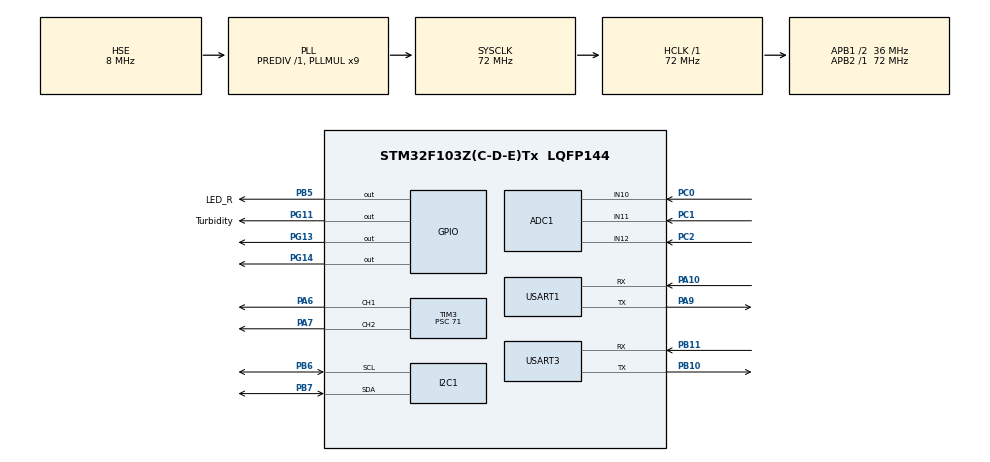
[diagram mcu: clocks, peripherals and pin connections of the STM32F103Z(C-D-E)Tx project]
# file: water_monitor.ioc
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ADC1.Channel-1\#ChannelRegularConversion=ADC_CHANNEL_10
ADC1.Channel-2\#ChannelRegularConversion=ADC_CHANNEL_11
ADC1.Channel-3\#ChannelRegularConversion=ADC_CHANNEL_12
ADC1.ContinuousConvMode=ENABLE
ADC1.NbrOfConversion=3
ADC1.NbrOfConversionFlag=1
ADC1.Rank-1\#ChannelRegularConversion=1
ADC1.Rank-2\#ChannelRegularConversion=2
ADC1.Rank-3\#ChannelRegularConversion=3
ADC1.SamplingTime-1\#ChannelRegularConversion=ADC_SAMPLETIME_13CYCLES_5
ADC1.SamplingTime-2\#ChannelRegularConversion=ADC_SAMPLETIME_13CYCLES_5
ADC1.SamplingTime-3\#ChannelRegularConversion=ADC_SAMPLETIME_13CYCLES_5
ADC1.master=1
Dma.ADC1.0.Direction=DMA_PERIPH_TO_MEMORY
Dma.ADC1.0.Instance=DMA1_Channel1
Dma.ADC1.0.MemDataAlignment=DMA_MDATAALIGN_HALFWORD
Dma.ADC1.0.MemInc=DMA_MINC_ENABLE
Dma.ADC1.0.Mode=DMA_CIRCULAR
Dma.ADC1.0.PeriphDataAlignment=DMA_PDATAALIGN_HALFWORD
Dma.ADC1.0.PeriphInc=DMA_PINC_DISABLE
Dma.ADC1.0.Priority=DMA_PRIORITY_LOW
Dma.Request0=ADC1
Dma.Request1=USART3_RX
Dma.USART3_RX.1.Direction=DMA_PERIPH_TO_MEMORY
Dma.USART3_RX.1.Instance=DMA1_Channel3
Dma.USART3_RX.1.MemDataAlignment=DMA_MDATAALIGN_BYTE
Dma.USART3_RX.1.MemInc=DMA_MINC_ENABLE
Dma.USART3_RX.1.Mode=DMA_NORMAL
Dma.USART3_RX.1.PeriphDataAlignment=DMA_PDATAALIGN_BYTE
Dma.USART3_RX.1.PeriphInc=DMA_PINC_DISABLE
Dma.USART3_RX.1.Priority=DMA_PRIORITY_LOW
FREERTOS.Tasks01=defaultTask,24,128,StartDefaultTask,Default,NULL,Dynamic,NULL,NULL
FREERTOS.configTOTAL_HEAP_SIZE=8192
FREERTOS.configUSE_MALLOC_FAILED_HOOK=1
Mcu.Family=STM32F1
Mcu.Name=STM32F103Z(C-D-E)Tx
Mcu.Package=LQFP144
NVIC.DMA1_Channel1_IRQn=true\:5\:0\:false\:false\:true\:true\:false\:true\:true
NVIC.DMA1_Channel3_IRQn=true\:5\:0\:false\:false\:true\:true\:false\:true\:true
NVIC.PriorityGroup=NVIC_PRIORITYGROUP_4
NVIC.TIM1_UP_IRQn=true\:15\:0\:false\:false\:true\:false\:false\:true\:true
NVIC.TimeBase=TIM1_UP_IRQn
NVIC.TimeBaseIP=TIM1
NVIC.USART1_IRQn=true\:5\:0\:false\:false\:true\:true\:true\:true\:true
NVIC.USART3_IRQn=true\:5\:0\:false\:false\:true\:true\:true\:true\:true
OSC_IN.Mode=HSE-External-Oscillator
OSC_IN.Signal=RCC_OSC_IN
OSC_OUT.Mode=HSE-External-Oscillator
OSC_OUT.Signal=RCC_OSC_OUT
PA10.Mode=Asynchronous
PA10.Signal=USART1_RX
PA13.Mode=Serial_Wire
PA13.Signal=SYS_JTMS-SWDIO
PA14.Mode=Serial_Wire
PA14.Signal=SYS_JTCK-SWCLK
PA6.Signal=S_TIM3_CH1
PA7.Signal=S_TIM3_CH2
PA9.Mode=Asynchronous
PA9.Signal=USART1_TX
PB10.Mode=Asynchronous
PB10.Signal=USART3_TX
PB11.Mode=Asynchronous
PB11.Signal=USART3_RX
PB5.GPIO_Label=LED_R
PB5.Signal=GPIO_Output
PB6.Mode=I2C
PB6.Signal=I2C1_SCL
PB7.Mode=I2C
PB7.Signal=I2C1_SDA
PC0.Signal=ADCx_IN10
PC1.Signal=ADCx_IN11
PC2.Signal=ADCx_IN12
PG11.GPIO_Label=Turbidity
PG11.GPIO_ModeDefaultOutputPP=GPIO_MODE_OUTPUT_PP
PG11.GPIO_PuPd=GPIO_PULLUP
PG11.GPIO_Speed=GPIO_SPEED_FREQ_HIGH
PG11.PinState=GPIO_PIN_SET
PG11.Signal=GPIO_Output
PG13.GPIO_PuPd=GPIO_PULLUP
PG13.PinState=GPIO_PIN_SET
PG13.Signal=GPIO_Output
PG14.GPIO_PuPd=GPIO_PULLUP
PG14.PinState=GPIO_PIN_SET
PG14.Signal=GPIO_Output
ProjectManager.HeapSize=0x200
ProjectManager.StackSize=0x800
ProjectManager.TargetToolchain=Makefile
RCC.ADCPresc=RCC_ADCPCLK2_DIV6
RCC.AHBFreq_Value=72000000
RCC.APB1CLKDivider=RCC_HCLK_DIV2
RCC.APB1Freq_Value=36000000
RCC.APB1TimFreq_Value=72000000
RCC.APB2Freq_Value=72000000
RCC.APB2TimFreq_Value=72000000
RCC.HCLKFreq_Value=72000000
RCC.PLLMUL=RCC_PLL_MUL9
RCC.PLLSourceVirtual=RCC_PLLSOURCE_HSE
RCC.SYSCLKFreq_VALUE=72000000
RCC.SYSCLKSource=RCC_SYSCLKSOURCE_PLLCLK
RCC.USBFreq_Value=72000000
SH.ADCx_IN10.0=ADC1_IN10,IN10
SH.ADCx_IN11.0=ADC1_IN11,IN11
SH.ADCx_IN12.0=ADC1_IN12,IN12
SH.S_TIM3_CH1.0=TIM3_CH1,PWM Generation1 CH1
SH.S_TIM3_CH2.0=TIM3_CH2,PWM Generation2 CH2
TIM3.Channel-PWM\ Generation1\ CH1=TIM_CHANNEL_1
TIM3.Channel-PWM\ Generation2\ CH2=TIM_CHANNEL_2
TIM3.Period=19999
TIM3.Prescaler=71
USART1.VirtualMode=VM_ASYNC
USART3.VirtualMode=VM_ASYNC
VP_FREERTOS_VS_CMSIS_V2.Mode=CMSIS_V2
VP_SYS_VS_tim1.Mode=TIM1
VP_TIM3_VS_ClockSourceINT.Mode=Internal
board=custom

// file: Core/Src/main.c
/* USER CODE BEGIN Header */
/**
  ******************************************************************************
  * @file           : main.c
  * @brief          : Main program body
  ******************************************************************************
  * @attention
  *
  * Copyright (c) 2025 STMicroelectronics.
  * All rights reserved.
  *
  * This software is licensed under terms that can be found in the LICENSE file
  * in the root directory of this software component.
  * If no LICENSE file comes with this software, it is provided AS-IS.
  *
  ******************************************************************************
  */
/* USER CODE END Header */
#include "main.h"
#include "cmsis_os.h"
#include "adc.h"
#include "dma.h"
#include "i2c.h"
#include "tim.h"
#include "usart.h"
#include "gpio.h"

/* USER CODE BEGIN Includes */
/* 告诉编译器，这个数组在别处定义了，你尽管用 */
extern uint16_t adc_raw_data[3];
/* USER CODE END Includes */

void SystemClock_Config(void);
void MX_FREERTOS_Init(void);

int main(void)
{

  /* MCU Configuration--------------------------------------------------------*/

  /* Reset of all peripherals, Initializes the Flash interface and the Systick. */
  HAL_Init();

  /* USER CODE BEGIN Init */
  CoreDebug->DEMCR |= CoreDebug_DEMCR_TRCENA_Msk; // 开启调试组件
  DWT->CYCCNT = 0;                                // 清零计数器
  DWT->CTRL |= DWT_CTRL_CYCCNTENA_Msk;            // 开启计数
  /* USER CODE END Init */

  /* Configure the system clock */
  SystemClock_Config();

  /* Initialize all configured peripherals */
  MX_GPIO_Init();
  MX_DMA_Init();
  MX_ADC1_Init();
  MX_USART1_UART_Init();
  MX_USART3_UART_Init();
  MX_I2C1_Init();
  MX_TIM3_Init();
  /* USER CODE BEGIN 2 */
	/* 开启 ADC DMA 搬运，长度为 3，对应你的三个通道 */
	HAL_ADC_Start_DMA(&hadc1, (uint32_t *)adc_raw_data, 3);
  /* USER CODE END 2 */

  /* Init scheduler */
  osKernelInitialize();  /* Call init function for freertos objects (in cmsis_os2.c) */
  MX_FREERTOS_Init();

  /* Start scheduler */
  osKernelStart();

  /* We should never get here as control is now taken by the scheduler */

  /* Infinite loop */
  while (1)
  {
	HAL_GPIO_TogglePin(GPIOB, GPIO_PIN_5);
	HAL_Delay(500);
  }
}

void SystemClock_Config(void)
{
  RCC_OscInitTypeDef RCC_OscInitStruct = {0};
  RCC_ClkInitTypeDef RCC_ClkInitStruct = {0};
  RCC_PeriphCLKInitTypeDef PeriphClkInit = {0};

  /** Initializes the RCC Oscillators according to the specified parameters
  * in the RCC_OscInitTypeDef structure.
  */
  RCC_OscInitStruct.OscillatorType = RCC_OSCILLATORTYPE_HSE;
  RCC_OscInitStruct.HSEState = RCC_HSE_ON;
  RCC_OscInitStruct.HSEPredivValue = RCC_HSE_PREDIV_DIV1;
  RCC_OscInitStruct.HSIState = RCC_HSI_ON;
  RCC_OscInitStruct.PLL.PLLState = RCC_PLL_ON;
  RCC_OscInitStruct.PLL.PLLSource = RCC_PLLSOURCE_HSE;
  RCC_OscInitStruct.PLL.PLLMUL = RCC_PLL_MUL9;
  if (HAL_RCC_OscConfig(&RCC_OscInitStruct) != HAL_OK)
  {
    Error_Handler();
  }

  /** Initializes the CPU, AHB and APB buses clocks
  */
  RCC_ClkInitStruct.ClockType = RCC_CLOCKTYPE_HCLK|RCC_CLOCKTYPE_SYSCLK
                              |RCC_CLOCKTYPE_PCLK1|RCC_CLOCKTYPE_PCLK2;
  RCC_ClkInitStruct.SYSCLKSource = RCC_SYSCLKSOURCE_PLLCLK;
  RCC_ClkInitStruct.AHBCLKDivider = RCC_SYSCLK_DIV1;
  RCC_ClkInitStruct.APB1CLKDivider = RCC_HCLK_DIV2;
  RCC_ClkInitStruct.APB2CLKDivider = RCC_HCLK_DIV1;

  if (HAL_RCC_ClockConfig(&RCC_ClkInitStruct, FLASH_LATENCY_2) != HAL_OK)
  {
    Error_Handler();
  }
  PeriphClkInit.PeriphClockSelection = RCC_PERIPHCLK_ADC;
  PeriphClkInit.AdcClockSelection = RCC_ADCPCLK2_DIV6;
  if (HAL_RCCEx_PeriphCLKConfig(&PeriphClkInit) != HAL_OK)
  {
    Error_Handler();
  }
}

void HAL_TIM_PeriodElapsedCallback(TIM_HandleTypeDef *htim)
{
  if (htim->Instance == TIM1)
  {
    HAL_IncTick();
  }
}

void Error_Handler(void)
{
  __disable_irq();
  while (1)
  {
  }
}

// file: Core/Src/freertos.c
/* USER CODE BEGIN Header */
/**
  ******************************************************************************
  * File Name          : freertos.c
  * Description        : Code for freertos applications
  ******************************************************************************
  * @attention
  *
  * Copyright (c) 2025 STMicroelectronics.
  * All rights reserved.
  *
  * This software is licensed under terms that can be found in the LICENSE file
  * in the root directory of this software component.
  * If no LICENSE file comes with this software, it is provided AS-IS.
  *
  ******************************************************************************
  */
/* USER CODE END Header */

#include "FreeRTOS.h"
#include "task.h"
#include "main.h"
#include "cmsis_os.h"
#include "string.h"

/* USER CODE BEGIN Includes */
#include <stdio.h>
#include "oled.h"
#include "string.h"
#include "ds18b20.h"
#include "adc.h"
#include "dht11.h"
#include "motor.h"
#include "esp32_cam.h"
#include "usart.h"
#include "tim.h"
/* USER CODE END Includes */

/* USER CODE BEGIN PTD */
#define ESP_RX_BUF_SIZE 512
uint8_t esp_rx_buf[ESP_RX_BUF_SIZE]; // DMA直接存放数据的数组
uint8_t esp_process_buf[ESP_RX_BUF_SIZE]; // 拷贝出来处理的数组
uint16_t esp_rx_len = 0;
/* USER CODE END PTD */

/* USER CODE BEGIN Pv */
// 1. 存放 ADC DMA 搬运来的原始数据 (对应 IN10, IN11, IN12)
uint16_t adc_raw_data[3] = {0}; // [0]:MQ135, [1]:假设的传感器2, [2]:假设的传感器3

float mq135_voltage = 0;        // MQ135 转换后的电压值
uint16_t air_quality = 0;       // 模拟空气质量数值

float Light_voltage = 0;
uint16_t light_intensity = 0;

// 2. 存放处理后的物理量 (给 GUI 显示用)
uint8_t temperature, humidity;

HAL_StatusTypeDef res_vision;
/* USER CODE END Pv */

/* Definitions for defaultTask */
osThreadId_t defaultTaskHandle;
const osThreadAttr_t defaultTask_attributes = {
  .name = "defaultTask",
  .stack_size = 128 * 4,
  .priority = (osPriority_t) osPriorityNormal,
};

/* --- esp8266任务属性 (给 2KB 栈空间) --- */
const osThreadAttr_t heaterTask_attributes = {
  .name = "communication",
  .stack_size = 512 * 4, // 改成 512 Words (2048 Bytes)
  .priority = (osPriority_t) osPriorityNormal,
};
/* USER CODE BEGIN FunctionPrototypes */
osThreadId_t oledTaskHandle;
void StartGUITask(void *argument);
osThreadId_t dht11TaskHandle;
void StartDHT11Task(void *argument);
osThreadId_t motorTaskHandle;
void StartMotorTask(void *argument);
/* USER CODE END FunctionPrototypes */
osThreadId_t mq135TaskHandle;
void StartMQ135Task(void *argument);
osThreadId_t communicationTaskHandle;
void StartCommunicationTask(void *argument);
void StartDefaultTask(void *argument);
osThreadId_t LightTaskHandle;
void StartLightTask(void *argument);
void Servo_SetAngle(float angle);
void MX_FREERTOS_Init(void); /* (MISRA C 2004 rule 8.1) */

/* Hook prototypes */
void vApplicationMallocFailedHook(void);

/* USER CODE BEGIN 5 */
void vApplicationMallocFailedHook(void)
{
   /* vApplicationMallocFailedHook() will only be called if
   configUSE_MALLOC_FAILED_HOOK is set to 1 in FreeRTOSConfig.h. It is a hook
   function that will get called if a call to pvPortMalloc() fails.
   pvPortMalloc() is called internally by the kernel whenever a task, queue,
   timer or semaphore is created. It is also called by various parts of the
   demo application. If heap_1.c or heap_2.c are used, then the size of the
   heap available to pvPortMalloc() is defined by configTOTAL_HEAP_SIZE in
   FreeRTOSConfig.h, and the xPortGetFreeHeapSize() API function can be used
   to query the size of free heap space that remains (although it does not
   provide information on how the remaining heap might be fragmented). */
}
/* USER CODE END 5 */

void MX_FREERTOS_Init(void) {

  /* Create the thread(s) */
  /* creation of defaultTask */
  defaultTaskHandle = osThreadNew(StartDefaultTask, NULL, &defaultTask_attributes);
  oledTaskHandle = osThreadNew(StartGUITask, NULL, &defaultTask_attributes);
  dht11TaskHandle = osThreadNew(StartDHT11Task, NULL, &defaultTask_attributes);
  motorTaskHandle = osThreadNew(StartMotorTask, NULL, &defaultTask_attributes);
  mq135TaskHandle = osThreadNew(StartMQ135Task, NULL, &defaultTask_attributes);
  communicationTaskHandle = osThreadNew(StartCommunicationTask, NULL, &heaterTask_attributes);
  LightTaskHandle = osThreadNew(StartLightTask, NULL, &defaultTask_attributes);

}

void StartDefaultTask(void *argument)
{
  /* USER CODE BEGIN StartDefaultTask */
  printf("System start success!\r\n");
  /* Infinite loop */
  for(;;)
  {
    // osDelay(1);
    HAL_GPIO_TogglePin(GPIOB, GPIO_PIN_5);
    osDelay(1000);
    // printf("System Alive! Tick: %lu\r\n", HAL_GetTick());

  }
  /* USER CODE END StartDefaultTask */
}

/* USER CODE BEGIN Application */
void StartGUITask(void *argument)
{
  OLED_Init();
  OLED_Clear();

  // 1. 标题：使用 16 点阵，占据 y=0 到 y=15 的位置
  OLED_ShowString(8, 0, (u8*)"Lab Monitor", 16);

  // 2. 静态标签：改用 12 点阵，节省空间
  OLED_ShowString(0, 20, (u8*)"Temp:", 12); // y=20
  OLED_ShowString(0, 32, (u8*)"Humi:", 12); // y=32
  OLED_ShowString(0, 44, (u8*)"Air:", 12); // y=32
  OLED_ShowString(0, 56, (u8*)"Light:", 12); // y=32

  // --- 这里 y=44 和 y=56 的位置现在空着，留给你后续的传感器 ---

  OLED_Refresh();

  char disp_buf[16];

  for(;;)
  {
    // --- 刷新温度值 (x轴 40 像素开始，避开标签) ---
    sprintf(disp_buf, "%d C   ", temperature);
    OLED_ShowString(40, 20, (u8*)disp_buf, 12);

    // --- 刷新湿度值 ---
    sprintf(disp_buf, "%d %%   ", humidity);
    OLED_ShowString(40, 32, (u8*)disp_buf, 12);

    // --- 刷新 MQ135 值 ---
    sprintf(disp_buf, "%d      ", air_quality); // 后面加空格是为了清除旧数字的残影
    OLED_ShowString(40, 44, (u8*)disp_buf, 12);

    sprintf(disp_buf, "%d      ", light_intensity); // 后面加空格是为了清除旧数字的残影
    OLED_ShowString(40, 56, (u8*)disp_buf, 12);

    // --- 系统运行指示点 (右上角) ---
    static uint8_t tick = 0;
    if(tick) OLED_ShowString(120, 0, (u8*)".", 16);
    else     OLED_ShowString(120, 0, (u8*)" ", 16);
    tick = !tick;

    OLED_Refresh();
    osDelay(500);
  }
}

void StartDHT11Task(void *argument)
{

  // 核心：在OS开始后先初始化引脚时钟
  __HAL_RCC_GPIOG_CLK_ENABLE();

  for(;;)
  {
    // 读取数据
    if(DHT11_Read_Data(&temperature, &humidity) == 0)
    {
      // printf("DHT11 OK! Humidity: %d%%, Temperature: %d C\r\n", humidity, temperature);
    }
    else
    {
      // printf("DHT11 Error! Check wiring on PG11\r\n");
    }

    osDelay(1000); // DHT11 必须 2 秒以上读一次
  }
}

void StartMotorTask(void *argument)
{
  /* USER CODE BEGIN StartMotorTask */
  Motor_Init_All(); // 初始化点击驱动模块

  for(;;)
  {
    // 逻辑判定：假设温度阈值为 27 度
    if(temperature >= 32)
    {
        // 1. 马达以 20% 速度正转（作为散热风扇）
        Motor_Set(20, 1);
        // 2. 关闭蜂鸣器 (PG13 高电平关闭)
        HAL_GPIO_WritePin(GPIOG, GPIO_PIN_13, GPIO_PIN_SET);
    } else if (temperature >= 30){
        // 2. 蜂鸣器报警 (PG13 低电平触发)
        HAL_GPIO_WritePin(GPIOG, GPIO_PIN_13, GPIO_PIN_RESET);
        Motor_Stop();
    } else {
        // 1. 停止马达
        Motor_Stop();
        // 2. 关闭蜂鸣器 (PG13 高电平关闭)
        HAL_GPIO_WritePin(GPIOG, GPIO_PIN_13, GPIO_PIN_SET);
    }

    osDelay(1000); // 1秒轮询一次
  }
  /* USER CODE END StartMotorTask */
}

// MQ135 ADC转换
void StartMQ135Task(void *argument)
{
  for(;;)
  {
    /* 根据你的配置：
       PC0 (IN10) -> adc_raw_data[0]
       PC1 (IN11) -> adc_raw_data[1]
       PC2 (IN12) -> adc_raw_data[2]
    */

    // 1. 将 12 位 ADC 值 (0-4095) 转换为电压 (0-3.3V)
    mq135_voltage = (float)adc_raw_data[0] * 3.3f / 4096.0f;

    // 2. 简单的换算（可选）：将 0-4095 映射到 0-100 的空气质量指数
    air_quality = (uint16_t)((float)adc_raw_data[0] / 4095.0f * 100.0f);

    // 打印调试
    // printf("MQ135 Raw: %d, Voltage: %.2fV\r\n", adc_raw_data[0], mq135_voltage);

    osDelay(500); // 半秒计算一次即可
  }
}

// light ADC转换
void StartLightTask(void *argument)
{
  for(;;)
  {
    /* 根据你的配置：
       PC0 (IN10) -> adc_raw_data[0]
       PC1 (IN11) -> adc_raw_data[1]
       PC2 (IN12) -> adc_raw_data[2]
    */

    // 1. 将 12 位 ADC 值 (0-4095) 转换为电压 (0-3.3V)
    Light_voltage = (float)adc_raw_data[1] * 3.3f / 4096.0f;

    // 2. 简单的换算（可选）：将 0-4095 映射到 0-100 的空气质量指数
	light_intensity = (uint16_t)((float)(4095 - adc_raw_data[1]) / 4095.0f * 100.0f);

    // 打印调试
    // printf("Light Raw: %d, Voltage: %.2fV\r\n", adc_raw_data[1], Light_voltage);

    osDelay(500); // 半秒计算一次即可
  }
}

/* 辅助发送函数 */
void ESP_Send_Cmd(char *cmd) {
    printf("Sending: %s\r\n", cmd); // 在USART1打印调试信息
    HAL_UART_Transmit(&huart3, (uint8_t*)cmd, strlen(cmd), 100);
    HAL_UART_Transmit(&huart3, (uint8_t*)"\r\n", 2, 10);
}

// 通信初始化函数（内部调用）
void ESP_Init_Connection(void) {
    printf("Starting ESP8266 Initialization...\r\n");

    osDelay(5000);
    // 1. 测试指令
    ESP_Send_Cmd("AT");
    osDelay(1000);
	printf("ESP Response: %s\r\n", esp_process_buf);

    // 2. 设置 Station 模式
    ESP_Send_Cmd("AT+CWMODE=1");
    osDelay(1000);
	printf("ESP Response: %s\r\n", esp_process_buf);

    // 3. 连接 WiFi (请替换为你自己的 WiFi 名和密码)
    // 注意：C语言中双引号前要加反斜杠转义 \"
    ESP_Send_Cmd("AT+CWJAP=\"HiwonderESP\",\"hiwonder\"");
    osDelay(10000); // 连接WiFi需要较长时间
	printf("ESP Response: %s\r\n", esp_process_buf);

    // 4. 连接笔记本 TCP 服务器 (请替换为你笔记本的局域网 IP)
    // 端口号必须是 8080，与 Python 代码对应
    ESP_Send_Cmd("AT+CIPSTART=\"TCP\",\"192.168.237.66\",8080");
    osDelay(2000);
	printf("ESP Response: %s\r\n", esp_process_buf);

    // 5. 开启透传模式
    ESP_Send_Cmd("AT+CIPMODE=1");
    osDelay(500);
	printf("ESP Response: %s\r\n", esp_process_buf);
    ESP_Send_Cmd("AT+CIPSEND");
    osDelay(500);
	printf("ESP Response: %s\r\n", esp_process_buf);

    printf("ESP8266 Link Ready!\r\n");
}

void StartCommunicationTask(void *argument) {
    osDelay(3000); // 等待系统稳定
    HAL_UART_Receive_DMA(&huart3, esp_rx_buf, ESP_RX_BUF_SIZE);
    __HAL_UART_ENABLE_IT(&huart3, UART_IT_IDLE);

    ESP_Init_Connection(); // 内部会处理 AT 指令

    char wifi_tx_buf[128];
    for(;;) {
        // 构造发送给笔记本的数据包
        // 对应你现在的变量：temperature, humidity, air_quality
        sprintf(wifi_tx_buf, "Temp:%d, Humi:%d, Air:%d, Light:%d\n",
                temperature, humidity, air_quality, light_intensity);

        HAL_UART_Transmit(&huart3, (uint8_t*)wifi_tx_buf, strlen(wifi_tx_buf), 100);

        // 接收逻辑 (保持不变)
        if(esp_rx_len > 0) {
            printf("Cmd From PC: %s\r\n", esp_process_buf);
            // 这里可以加逻辑，比如收到 'S' 就让马达停止
            if(strstr((char*)esp_process_buf, "SERVO_TOGGLE")) {
		          Door_Unlock_Process();
            }
            esp_rx_len = 0;
            memset(esp_process_buf, 0, ESP_RX_BUF_SIZE);
        }
        osDelay(3000); // 2秒上报一次
    }
}

/**
 * @brief  舵机角度控制
 * @param  angle: 0 到 180 度
 */
void Servo_SetAngle(float angle)
{
    if (angle > 180.0f) angle = 180.0f;
    if (angle < 0.0f) angle = 0.0f;

    // 50Hz下, ARR=199:
    // 0.5ms(0度)  -> Compare = 5
    // 2.5ms(180度) -> Compare = 25
    // 换算公式: CCR = 5 + (angle / 180.0) * 20
    uint16_t compare = (uint16_t)(5.0f + (angle / 180.0f) * 20.0f);

    // 使用 PA7 对应的 TIM3_CHANNEL_2
    __HAL_TIM_SET_COMPARE(&htim3, TIM_CHANNEL_2, compare);
}

/**
 * @brief  模拟门禁开门流程
 */
void Door_Unlock_Process(void)
{
    // 1. 启动 PA7 的 PWM 输出 (只需启动一次，也可放初始化里)
    HAL_TIM_PWM_Start(&htim3, TIM_CHANNEL_2);

    // 2. 转动到 90 度 (开门)
    Servo_SetAngle(90.0f);

    // 3. 延时 3 秒 (FreeRTOS 环境下使用 osDelay)
    osDelay(3000);

    // 4. 转动回 0 度 (关门)
    Servo_SetAngle(0.0f);
}
